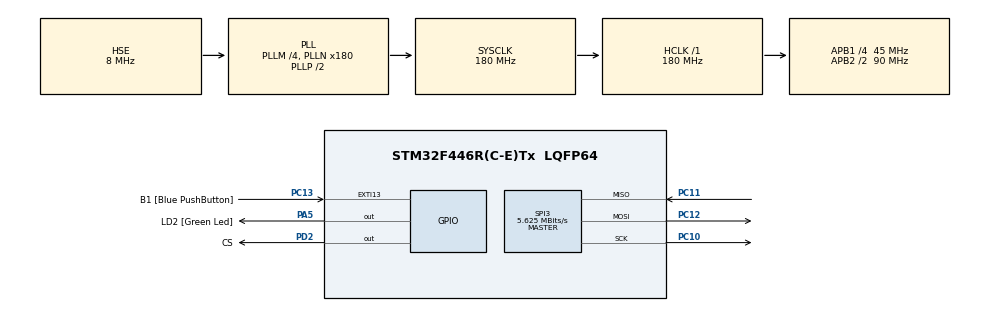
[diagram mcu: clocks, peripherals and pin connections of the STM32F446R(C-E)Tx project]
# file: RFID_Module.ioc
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Mcu.Family=STM32F4
Mcu.Name=STM32F446R(C-E)Tx
Mcu.Package=LQFP64
NVIC.PriorityGroup=NVIC_PRIORITYGROUP_0
PA13.GPIO_Label=TMS
PA13.Mode=Serial_Wire
PA13.Signal=SYS_JTMS-SWDIO
PA14.GPIO_Label=TCK
PA14.Mode=Serial_Wire
PA14.Signal=SYS_JTCK-SWCLK
PA2.GPIO_Label=USART_TX
PA2.Signal=USART2_TX
PA3.GPIO_Label=USART_RX
PA3.Signal=USART2_RX
PA5.GPIO_Label=LD2 [Green Led]
PA5.Signal=GPIO_Output
PB3.GPIO_Label=SWO
PB3.Signal=SYS_JTDO-SWO
PC10.Mode=Full_Duplex_Master
PC10.Signal=SPI3_SCK
PC11.Mode=Full_Duplex_Master
PC11.Signal=SPI3_MISO
PC12.Mode=Full_Duplex_Master
PC12.Signal=SPI3_MOSI
PC13.GPIO_Label=B1 [Blue PushButton]
PC13.GPIO_ModeDefaultEXTI=GPIO_MODE_IT_FALLING
PC13.Signal=GPXTI13
PC14-OSC32_IN.Signal=RCC_OSC32_IN
PC15-OSC32_OUT.Signal=RCC_OSC32_OUT
PD2.GPIO_Label=CS
PD2.Signal=GPIO_Output
PH0-OSC_IN.Mode=HSE-External-Clock-Source
PH0-OSC_IN.Signal=RCC_OSC_IN
PH1-OSC_OUT.Mode=HSE-External-Clock-Source
PH1-OSC_OUT.Signal=RCC_OSC_OUT
ProjectManager.HeapSize=0x200
ProjectManager.StackSize=0x400
ProjectManager.TargetToolchain=STM32CubeIDE
RCC.AHBFreq_Value=180000000
RCC.APB1CLKDivider=RCC_HCLK_DIV4
RCC.APB1Freq_Value=45000000
RCC.APB1TimFreq_Value=90000000
RCC.APB2CLKDivider=RCC_HCLK_DIV2
RCC.APB2Freq_Value=90000000
RCC.APB2TimFreq_Value=180000000
RCC.CortexFreq_Value=180000000
RCC.FLatency-AdvancedSettings=FLASH_LATENCY_5
RCC.HCLKFreq_Value=180000000
RCC.HSE_VALUE=8000000
RCC.HSI_VALUE=16000000
RCC.LSE_VALUE=32768
RCC.PLLM=4
RCC.PLLN=180
RCC.PLLSourceVirtual=RCC_PLLSOURCE_HSE
RCC.SYSCLKFreq_VALUE=180000000
RCC.SYSCLKSource=RCC_SYSCLKSOURCE_PLLCLK
RCC.USBFreq_Value=180000000
RCC.VCOOutputFreq_Value=360000000
SPI3.BaudRatePrescaler=SPI_BAUDRATEPRESCALER_8
SPI3.CalculateBaudRate=5.625 MBits/s
SPI3.Direction=SPI_DIRECTION_2LINES
SPI3.Mode=SPI_MODE_MASTER
SPI3.VirtualType=VM_MASTER
board=NUCLEO-F446RE

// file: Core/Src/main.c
/* USER CODE BEGIN Header */
/**
  ******************************************************************************
  * @file           : main.c
  * @brief          : Main program body
  ******************************************************************************
  * @attention
  *
  * <h2><center>&copy; Copyright (c) 2019 STMicroelectronics.
  * All rights reserved.</center></h2>
  *
  * This software component is licensed by ST under BSD 3-Clause license,
  * the "License"; You may not use this file except in compliance with the
  * License. You may obtain a copy of the License at:
  *                        opensource.org/licenses/BSD-3-Clause
  *
  ******************************************************************************
  */
/* USER CODE END Header */

#include "main.h"
#include "spi.h"
#include "gpio.h"

/* USER CODE BEGIN Includes */
#include "lcd.h"
#include "MFRC522.h"

/* USER CODE END Includes */

void SystemClock_Config(void);

int main(void)
{

  /* MCU Configuration--------------------------------------------------------*/

  /* Reset of all peripherals, Initializes the Flash interface and the Systick. */
  HAL_Init();

  /* Configure the system clock */
  SystemClock_Config();

  /* Initialize all configured peripherals */
  MX_GPIO_Init();
  MX_SPI3_Init();
  /* USER CODE BEGIN 2 */
  /* Array for storing card IDs */
  uint8_t CardID[5];
  /* Known IDs */
  uint8_t MyIDCard[5] = { 0x00, 0x00, 0x00, 0x00, 0x00 };
  uint8_t emp[5] = { 0x41, 0x7D, 0xAB, 0x20, 0xB7 };
  LCD_Init();
  MFRC522_Init(&hspi3);

  	/* Infinite loop */
  	while (1) {
  		/* Check if card is present */
  		if (MFRC522_Check(CardID) == MI_OK) {
  			/* Check CardID if this is my card or token */
  			if (MFRC522_Compare(CardID, MyIDCard) == MI_OK) {
  				LCD_Printf("Hello Card!\n");
  				/* Do smth here */
  			} else if (MFRC522_Compare(CardID, emp) == MI_OK) {
  				LCD_Printf("Hello MR. OLENEV.!\n\n\n\n");
  				/* Do smth here */
  			} else {
  				LCD_Printf("Unknown card!\n\n");
  				/* Print CardID */
  				LCD_Printf("check the techenical support \n");
  				LCD_Printf("0x%02X 0x%02X 0x%02X 0x%02X 0x%02X", CardID[0], CardID[1], CardID[2], CardID[3], CardID[4]);
  				LCD_SetCursor(0, 0);
  				/* Do smth here */
  			}

  		} else {
  			/* No valid card present */
  			LCD_Printf("No card!\n\n");
  	  		LCD_SetCursor(0, 14);

  		}
  		LCD_SetCursor(0, 0);
  		HAL_Delay(100);
  	}
  /* USER CODE END 2 */

  /* Infinite loop */
  while (1)
  {

  }
}

void SystemClock_Config(void)
{
  RCC_OscInitTypeDef RCC_OscInitStruct = {0};
  RCC_ClkInitTypeDef RCC_ClkInitStruct = {0};

  /** Configure the main internal regulator output voltage
  */
  __HAL_RCC_PWR_CLK_ENABLE();
  __HAL_PWR_VOLTAGESCALING_CONFIG(PWR_REGULATOR_VOLTAGE_SCALE1);
  /** Initializes the CPU, AHB and APB busses clocks
  */
  RCC_OscInitStruct.OscillatorType = RCC_OSCILLATORTYPE_HSE;
  RCC_OscInitStruct.HSEState = RCC_HSE_BYPASS;
  RCC_OscInitStruct.PLL.PLLState = RCC_PLL_ON;
  RCC_OscInitStruct.PLL.PLLSource = RCC_PLLSOURCE_HSE;
  RCC_OscInitStruct.PLL.PLLM = 4;
  RCC_OscInitStruct.PLL.PLLN = 180;
  RCC_OscInitStruct.PLL.PLLP = RCC_PLLP_DIV2;
  RCC_OscInitStruct.PLL.PLLQ = 2;
  RCC_OscInitStruct.PLL.PLLR = 2;
  if (HAL_RCC_OscConfig(&RCC_OscInitStruct) != HAL_OK)
  {
    Error_Handler();
  }
  /** Activate the Over-Drive mode
  */
  if (HAL_PWREx_EnableOverDrive() != HAL_OK)
  {
    Error_Handler();
  }
  /** Initializes the CPU, AHB and APB busses clocks
  */
  RCC_ClkInitStruct.ClockType = RCC_CLOCKTYPE_HCLK|RCC_CLOCKTYPE_SYSCLK
                              |RCC_CLOCKTYPE_PCLK1|RCC_CLOCKTYPE_PCLK2;
  RCC_ClkInitStruct.SYSCLKSource = RCC_SYSCLKSOURCE_PLLCLK;
  RCC_ClkInitStruct.AHBCLKDivider = RCC_SYSCLK_DIV1;
  RCC_ClkInitStruct.APB1CLKDivider = RCC_HCLK_DIV4;
  RCC_ClkInitStruct.APB2CLKDivider = RCC_HCLK_DIV2;

  if (HAL_RCC_ClockConfig(&RCC_ClkInitStruct, FLASH_LATENCY_5) != HAL_OK)
  {
    Error_Handler();
  }
}

void Error_Handler(void)
{
}

/************************ (C) COPYRIGHT STMicroelectronics *****END OF FILE****/
